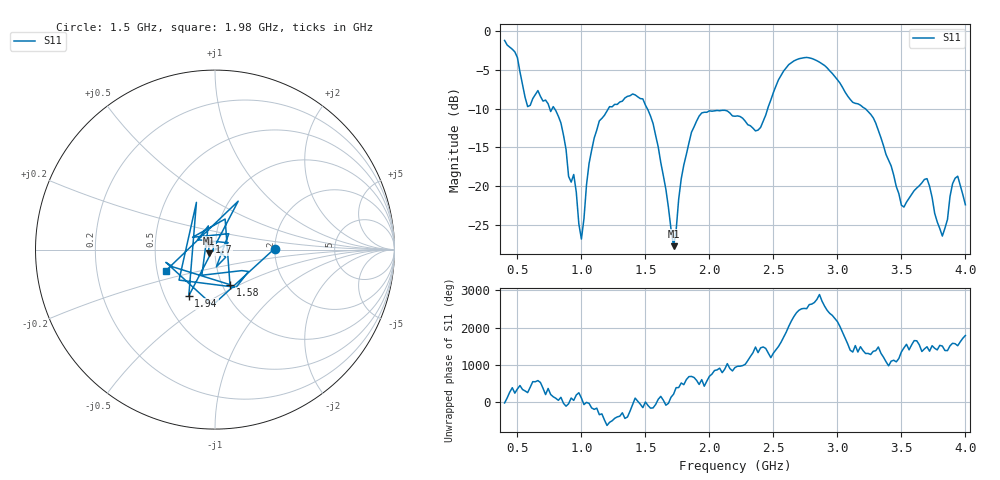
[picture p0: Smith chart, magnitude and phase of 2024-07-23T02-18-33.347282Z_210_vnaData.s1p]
!Created with skrf (http://scikit-rf.org).
# Hz S RI R 50.0
!freq ReS11 ImS11
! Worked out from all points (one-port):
!   181 points, 400 MHz to 4 GHz, reference 50 ohm
!   lowest |S11| = -27.7 dB at 1.72 GHz (marker M1), VSWR 1.09, Z = 46.5 - j1.92 ohm
!   |S11| at or under -10 dB: 789.5 MHz to 1.212 GHz (422 MHz wide, 42.2 % of centre); 1.514 GHz to 2.456 GHz (941.6 MHz wide, 47.4 % of centre); 3.215 GHz to end of sweep (the widest 3 of 4)
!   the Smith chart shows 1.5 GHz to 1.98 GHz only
!   S11 on the Smith chart (normalised r, x): 1.5 GHz: 2.00, +0.03; 1.58 GHz: 1.09, -0.44; 1.7 GHz: 0.93, +0.08; 1.94 GHz: 0.66, -0.37; 1.98 GHz: 0.56, -0.14
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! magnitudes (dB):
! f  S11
! 400 MHz  -1.3
! 500 MHz  -3.5
! 580 MHz  -9.8
! 660 MHz  -7.7
! 860 MHz  -13.4
! 900 MHz  -18.7
! 940 MHz  -18.5
! 1 GHz  -26.8
! 1.1 GHz  -13.8
! 1.3 GHz  -9.2
! 1.5 GHz  -9.6
! 1.58 GHz  -13.5
! 1.7 GHz  -25.5
! 1.72 GHz  -27.7
! 1.76 GHz  -21.6
! 1.94 GHz  -10.6
! 1.98 GHz  -10.5
! 2.2 GHz  -11.0
! 2.38 GHz  -12.8
! 2.66 GHz  -3.9
! 3.1 GHz  -8.8
! 3.28 GHz  -11.2
! 3.5 GHz  -22.4
! 3.56 GHz  -21.5
! 3.7 GHz  -19.0
! 3.82 GHz  -26.4
! 3.92 GHz  -18.9
! 4 GHz  -22.4
